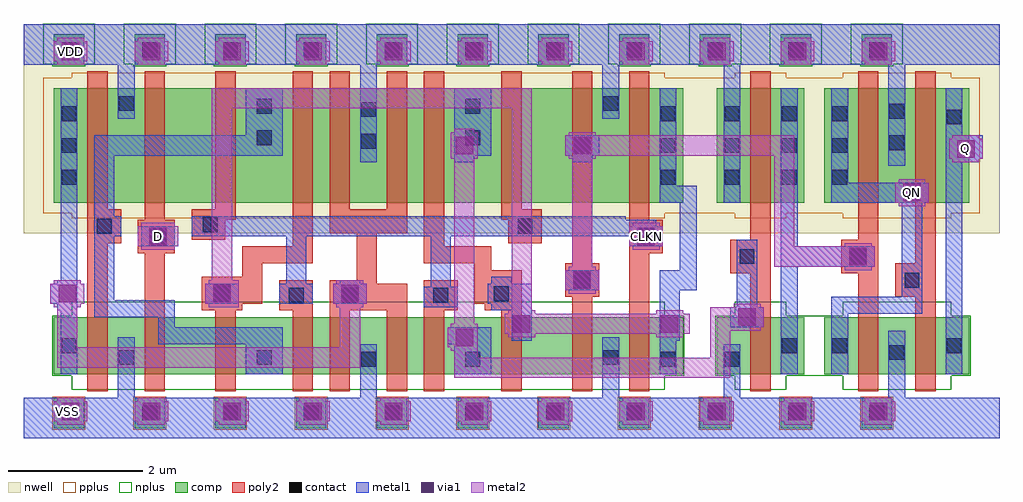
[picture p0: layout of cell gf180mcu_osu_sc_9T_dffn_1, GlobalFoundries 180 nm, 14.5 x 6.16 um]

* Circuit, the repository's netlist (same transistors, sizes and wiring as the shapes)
* Copyright 2022 Google LLC
*
* Licensed under the Apache License, Version 2.0 (the "License");
* you may not use this file except in compliance with the License.
* You may obtain a copy of the License at
*
*      http://www.apache.org/licenses/LICENSE-2.0
*
* Unless required by applicable law or agreed to in writing, software
* distributed under the License is distributed on an "AS IS" BASIS,
* WITHOUT WARRANTIES OR CONDITIONS OF ANY KIND, either express or implied.
* See the License for the specific language governing permissions and
* limitations under the License.

.option scale=0.05u

.subckt gf180mcu_osu_sc_9T_dffn_1 D Q QN CLKN
X0 a_42_70 D VDD VDD pmos_3p3 w=34 l=6
X1 a_125_19 a_53_38 a_114_70 VDD pmos_3p3 w=34 l=6
X2 a_86_70 a_53_38 a_19_14 VDD pmos_3p3 w=34 l=6
X3 VDD a_161_42 a_148_70 VDD pmos_3p3 w=34 l=6
X4 VSS a_9_19 a_86_19 VSS nmos_3p3 w=17 l=6
X5 a_19_14 a_53_38 a_42_19 VSS nmos_3p3 w=17 l=6
X6 VSS a_161_42 QN VSS nmos_3p3 w=17 l=6
X7 VDD a_9_19 a_86_70 VDD pmos_3p3 w=34 l=6
X8 a_19_14 CLKN a_42_70 VDD pmos_3p3 w=34 l=6
X9 VDD a_161_42 QN VDD pmos_3p3 w=34 l=6
X10 VSS a_19_14 a_9_19 VSS nmos_3p3 w=17 l=6
X11 a_53_38 CLKN VSS VSS nmos_3p3 w=17 l=6
X12 VDD a_19_14 a_9_19 VDD pmos_3p3 w=34 l=6
X13 a_53_38 CLKN VDD VDD pmos_3p3 w=34 l=6
X14 a_148_19 a_53_38 a_125_19 VSS nmos_3p3 w=17 l=6
X15 Q QN VSS VSS nmos_3p3 w=17 l=6
X16 a_114_19 a_9_19 VSS VSS nmos_3p3 w=17 l=6
X17 a_161_42 a_125_19 VSS VSS nmos_3p3 w=17 l=6
X18 a_148_70 CLKN a_125_19 VDD pmos_3p3 w=34 l=6
X19 Q QN VDD VDD pmos_3p3 w=34 l=6
X20 a_114_70 a_9_19 VDD VDD pmos_3p3 w=34 l=6
X21 a_161_42 a_125_19 VDD VDD pmos_3p3 w=34 l=6
X22 a_42_19 D VSS VSS nmos_3p3 w=17 l=6
X23 a_125_19 CLKN a_114_19 VSS nmos_3p3 w=17 l=6
X24 a_86_19 CLKN a_19_14 VSS nmos_3p3 w=17 l=6
X25 VSS a_161_42 a_148_19 VSS nmos_3p3 w=17 l=6
.ends

** hspice subcircuit dictionary

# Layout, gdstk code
import gdstk
lib = gdstk.Library(unit=1e-6, precision=1e-09)
def R(c, l, rs):  # rectangles x0, y0, x1, y1
    for r in rs: c.add(gdstk.rectangle(r[:2], r[2:], *l))
def A(c, l, x, y, w, h, nx, ny, dx, dy):  # array of equal rectangles
    R(c, l, [(x+i*dx, y+j*dy, x+i*dx+w, y+j*dy+h) for i in range(nx) for j in range(ny)])
nwell = (21, 0)
comp = (22, 0)
poly2 = (30, 0)
pplus = (31, 0)
nplus = (32, 0)
contact = (33, 0)
metal1 = (34, 0)
via1 = (35, 0)
metal2 = (36, 0)

gf180mcu_osu_sc_9t_dffn_ = lib.new_cell('gf180mcu_osu_sc_9T_dffn_1')
R(gf180mcu_osu_sc_9t_dffn_, nwell, [(0,3.05,14.5,6.15)])
A(gf180mcu_osu_sc_9t_dffn_, comp, 0.45, 0.15, 0.45, 0.45, 11, 2, 1.2, 5.4)
R(gf180mcu_osu_sc_9t_dffn_, comp, [(0.45,0.95,9.8,1.8), (10.3,0.95,11.6,1.8), (11.9,0.95,14.05,1.8), (0.45,3.5,9.8,5.2), (10.3,3.5,11.6,5.2), (11.9,3.5,14.05,5.2)])
R(gf180mcu_osu_sc_9t_dffn_, poly2, [(0.95,0.7,1.25,2.9), (1.8,0.7,2.1,2.75), (2.85,0.7,3.15,1.9), (4,0.7,4.3,1.9), (4.55,0.7,4.85,1.9), (5.4,0.7,5.7,1.9), (5.95,0.7,6.25,1.9), (7.1,0.7,7.4,1.9), (8.15,0.7,8.45,2.1), (9,0.7,9.3,2.75), (10.8,0.7,11.1,2.45), (12.4,0.7,12.7,2.45), (13.25,0.7,13.55,2.1), (2.65,1.9,3.25,2), (3.8,1.9,4.3,2.35), (4.55,1.9,5.7,2.3), (5.95,1.9,6.45,2.35), (6.85,1.9,7.4,2), (2.65,2,3.55,2.4), (6.7,2,7.4,2.5), (8.05,2.1,8.55,2.6), (12.95,2.1,13.55,2.6), (4.55,2.3,5.25,2.35), (4.95,2.35,5.25,3.05), (3.25,2.4,3.55,2.6), (10.5,2.45,11.1,2.95), (12.15,2.45,12.7,2.95), (6.7,2.5,6.95,2.6), (3.25,2.6,4.3,2.85), (5.95,2.6,6.95,2.85), (8.15,2.6,8.45,5.45), (13.25,2.6,13.55,5.45), (1.7,2.75,2.25,3.25), (9,2.75,9.5,3.25), (4,2.85,4.3,5.45), (5.95,2.85,6.25,5.45), (0.95,2.9,1.45,3.4), (7.2,2.9,7.7,3.25), (2.5,2.95,3,3.25), (10.8,2.95,11.1,5.45), (12.4,2.95,12.7,5.45), (4.55,3.05,5.7,3.4), (1.8,3.25,2.1,5.45), (2.5,3.25,3.15,3.4), (7.1,3.25,7.7,3.4), (9,3.25,9.3,5.45), (0.95,3.4,1.25,5.45), (2.85,3.4,3.15,5.45), (4.55,3.4,4.85,5.45), (5.4,3.4,5.7,5.45), (7.1,3.4,7.4,5.45)])
A(gf180mcu_osu_sc_9t_dffn_, pplus, 0.43, 0.13, 0.49, 0.49, 11, 1, 1.2, 0)
R(gf180mcu_osu_sc_9t_dffn_, pplus, [(0.72,3.27,9.53,3.34), (10.57,3.27,11.33,3.34), (12.17,3.27,13.78,3.34), (0.29,3.34,14.21,5.36), (0.72,5.36,9.53,5.43), (10.57,5.36,11.33,5.43), (12.17,5.36,13.78,5.43)])
A(gf180mcu_osu_sc_9t_dffn_, nplus, 0.43, 5.53, 0.49, 0.03, 11, 1, 1.2, 0)
A(gf180mcu_osu_sc_9t_dffn_, nplus, 0.29, 5.56, 0.77, 0.6, 11, 1, 1.2, 0)
R(gf180mcu_osu_sc_9t_dffn_, nplus, [(0.72,0.72,9.53,0.93), (10.57,0.72,11.33,0.93), (12.17,0.72,13.78,0.93), (0.43,0.93,9.82,1.82), (10.28,0.93,14.07,1.82), (0.72,1.82,9.53,2.03), (10.57,1.82,11.33,2.03), (12.17,1.82,13.78,2.03)])
A(gf180mcu_osu_sc_9t_dffn_, contact, 0.565, 0.265, 0.22, 0.22, 11, 2, 1.2, 5.4)
A(gf180mcu_osu_sc_9t_dffn_, contact, 0.565, 3.77, 0.22, 0.22, 1, 3, 0, 0.47)
A(gf180mcu_osu_sc_9t_dffn_, contact, 9.465, 3.77, 0.22, 0.22, 1, 3, 0, 0.47)
A(gf180mcu_osu_sc_9t_dffn_, contact, 10.415, 3.77, 0.22, 0.22, 1, 3, 0, 0.47)
A(gf180mcu_osu_sc_9t_dffn_, contact, 11.265, 3.77, 0.22, 0.22, 1, 3, 0, 0.47)
A(gf180mcu_osu_sc_9t_dffn_, contact, 12.015, 3.77, 0.22, 0.22, 1, 3, 0, 0.47)
R(gf180mcu_osu_sc_9t_dffn_, contact, [(5.015,1.065,5.235,1.285), (6.565,1.065,6.785,1.285), (9.465,1.065,9.685,1.285), (10.415,1.065,10.635,1.285), (1.415,1.09,1.635,1.31), (3.465,1.09,3.685,1.31), (8.615,1.09,8.835,1.31), (12.865,1.165,13.085,1.385), (0.565,1.265,0.785,1.485), (11.265,1.265,11.485,1.485), (12.015,1.265,12.235,1.485), (13.715,1.265,13.935,1.485), (3.94,2.015,4.16,2.235), (4.74,2.015,4.96,2.235), (6.09,2.015,6.31,2.235), (2.84,2.04,3.06,2.26), (6.99,2.04,7.21,2.26), (8.19,2.24,8.41,2.46), (13.09,2.24,13.31,2.46), (10.64,2.59,10.86,2.81), (12.29,2.59,12.51,2.81), (1.89,2.89,2.11,3.11), (9.14,2.89,9.36,3.11), (1.09,3.04,1.31,3.26), (7.34,3.04,7.56,3.26), (2.665,3.065,2.885,3.285), (12.865,4.28,13.085,4.5), (5.015,4.305,5.235,4.525), (3.465,4.355,3.685,4.575), (6.565,4.355,6.785,4.575), (13.715,4.665,13.935,4.885), (12.865,4.75,13.085,4.97), (5.015,4.775,5.235,4.995), (3.465,4.825,3.685,5.045), (6.565,4.825,6.785,5.045), (1.415,4.865,1.635,5.085), (8.615,4.865,8.835,5.085)])
R(gf180mcu_osu_sc_9t_dffn_, metal1, [(0,0,14.5,0.6), (1.4,0.6,1.65,1.5), (5,0.6,5.25,1.4), (8.6,0.6,8.85,1.5), (10.4,0.6,10.65,1.4), (12.85,0.6,13.1,1.6), (0.55,0.95,0.8,1.9), (3.3,0.95,3.85,1.4), (6.4,0.95,6.95,1.4), (9.45,0.95,9.7,1.45), (11.25,0.95,11.5,2.55), (12,0.95,12.25,1.85), (13.7,0.95,13.95,4.1), (2,1.4,3.85,1.65), (6.3,1.4,6.95,1.65), (7.25,1.45,7.55,1.9), (9.45,1.45,9.75,2.2), (2,1.65,2.25,1.8), (10.5,1.65,11,1.95), (1.05,1.8,2.25,2.05), (12,1.85,13.35,2.1), (0.5,1.9,0.8,2), (6.95,1.9,7.55,2), (5.95,1.95,6.45,2.25), (10.6,1.95,10.9,2.95), (0.4,2,0.8,2.3), (2.7,2,3.2,2.3), (3.8,2,4.3,2.3), (4.6,2,5.1,2.3), (6.9,2,7.55,2.3), (1.05,2.05,1.35,3), (13.05,2.1,13.35,3.5), (8.05,2.2,8.55,2.5), (9.45,2.2,10,2.5), (6.05,2.25,6.35,3), (0.5,2.3,0.8,2.35), (3.9,2.3,4.2,3), (4.7,2.3,5,2.35), (6.95,2.3,7.25,2.4), (0.55,2.35,0.8,5.2), (9.75,2.5,10,3.5), (11.25,2.55,12.65,2.85), (1.75,2.85,2.25,3.15), (9,2.85,9.5,3), (11.25,2.85,11.5,5.2), (1.05,3,1.45,3.3), (2.5,3,9.5,3.15), (2.5,3.15,9.4,3.25), (2.5,3.25,8.95,3.3), (1.05,3.3,1.35,4.2), (9.45,3.5,10,3.75), (10.4,3.5,10.65,5.55), (12,3.5,13.45,3.8), (9.45,3.75,9.7,5.2), (12,3.8,12.25,5.2), (12.85,4.05,13.1,5.55), (5,4.1,5.25,5.55), (6.4,4.1,6.7,4.2), (8.15,4.1,8.45,4.2), (13.7,4.1,14.2,4.15), (13.7,4.15,14.25,4.5), (1.05,4.2,3.85,4.5), (6.4,4.2,6.95,5.2), (8.05,4.2,8.55,4.5), (3.3,4.5,3.85,5.2), (13.7,4.5,13.95,5.2), (1.4,4.75,1.65,5.55), (8.6,4.75,8.85,5.55), (0,5.55,14.5,6.15)])
A(gf180mcu_osu_sc_9t_dffn_, via1, 0.57, 0.27, 0.26, 0.26, 11, 2, 1.2, 5.35)
R(gf180mcu_osu_sc_9t_dffn_, via1, [(6.42,1.37,6.68,1.63), (7.27,1.57,7.53,1.83), (9.47,1.57,9.73,1.83), (10.62,1.67,10.88,1.93), (0.52,2.02,0.78,2.28), (2.82,2.02,3.08,2.28), (4.72,2.02,4.98,2.28), (8.17,2.22,8.43,2.48), (12.27,2.57,12.53,2.83), (1.87,2.87,2.13,3.13), (9.12,2.87,9.38,3.13), (13.07,3.52,13.33,3.78), (13.87,4.17,14.13,4.43), (6.42,4.22,6.68,4.48), (8.17,4.22,8.43,4.48)])
A(gf180mcu_osu_sc_9t_dffn_, metal2, 0.5, 0.2, 0.4, 0.05, 11, 2, 1.2, 0.35)
A(gf180mcu_osu_sc_9t_dffn_, metal2, 0.45, 0.25, 0.5, 0.3, 11, 2, 1.2, 5.35)
A(gf180mcu_osu_sc_9t_dffn_, metal2, 0.5, 5.55, 0.4, 0.05, 11, 2, 1.2, 0.35)
R(gf180mcu_osu_sc_9t_dffn_, metal2, [(6.4,0.9,10.5,1.2), (0.5,1.05,5,1.35), (6.4,1.2,6.75,1.3), (10.2,1.2,10.5,1.6), (6.35,1.3,6.75,1.35), (0.5,1.35,0.8,1.95), (4.7,1.35,5,1.95), (6.3,1.35,6.75,1.65), (7.2,1.5,7.6,1.55), (9.4,1.5,9.8,1.55), (7.15,1.55,9.9,1.85), (10.2,1.6,10.95,1.65), (6.35,1.65,6.75,1.7), (10.2,1.65,11,1.95), (6.4,1.7,6.7,4.15), (7.2,1.85,7.6,1.9), (9.4,1.85,9.8,1.9), (7.25,1.9,7.55,4.9), (0.45,1.95,0.85,2), (2.75,1.95,3.2,2), (4.65,1.95,5.05,2), (10.55,1.95,10.95,2), (0.4,2,0.9,2.3), (2.7,2,3.2,2.3), (4.6,2,5.1,2.3), (8.1,2.15,8.5,2.2), (8.05,2.2,8.55,2.5), (0.45,2.3,0.85,2.35), (2.75,2.3,3.2,2.35), (4.65,2.3,5.05,2.35), (2.8,2.35,3.1,4.9), (8.1,2.5,8.5,2.55), (12.2,2.5,12.6,2.55), (8.15,2.55,8.45,4.15), (11.15,2.55,12.65,2.85), (1.75,2.8,2.25,2.85), (9.05,2.8,9.45,2.85), (1.7,2.85,2.3,3.15), (9,2.85,9.5,3.15), (11.15,2.85,11.45,4.2), (12.2,2.85,12.6,2.9), (1.75,3.15,2.25,3.2), (9.05,3.15,9.45,3.2), (13,3.45,13.4,3.5), (12.95,3.5,13.45,3.8), (13,3.8,13.4,3.85), (13.8,4.1,14.2,4.15), (6.35,4.15,6.75,4.55), (8.1,4.15,8.5,4.2), (13.75,4.15,14.25,4.45), (8.05,4.2,11.45,4.5), (13.8,4.45,14.2,4.5), (8.1,4.5,8.5,4.55), (6.4,4.55,6.7,4.6), (2.8,4.9,7.55,5.2)])
gf180mcu_osu_sc_9t_dffn_.add(gdstk.Label('VDD', (0.7,5.75), layer=36, texttype=0))
gf180mcu_osu_sc_9t_dffn_.add(gdstk.Label('VSS', (0.65,0.4), layer=36, texttype=0))
gf180mcu_osu_sc_9t_dffn_.add(gdstk.Label('D', (2,3), layer=36, texttype=10))
gf180mcu_osu_sc_9t_dffn_.add(gdstk.Label('Q', (14,4.3), layer=36, texttype=10))
gf180mcu_osu_sc_9t_dffn_.add(gdstk.Label('QN', (13.2,3.65), layer=36, texttype=10))
gf180mcu_osu_sc_9t_dffn_.add(gdstk.Label('CLKN', (9.25,3), layer=36, texttype=10))

lib.write_gds('gf180mcu_osu_sc_9T_dffn_1.gds')
